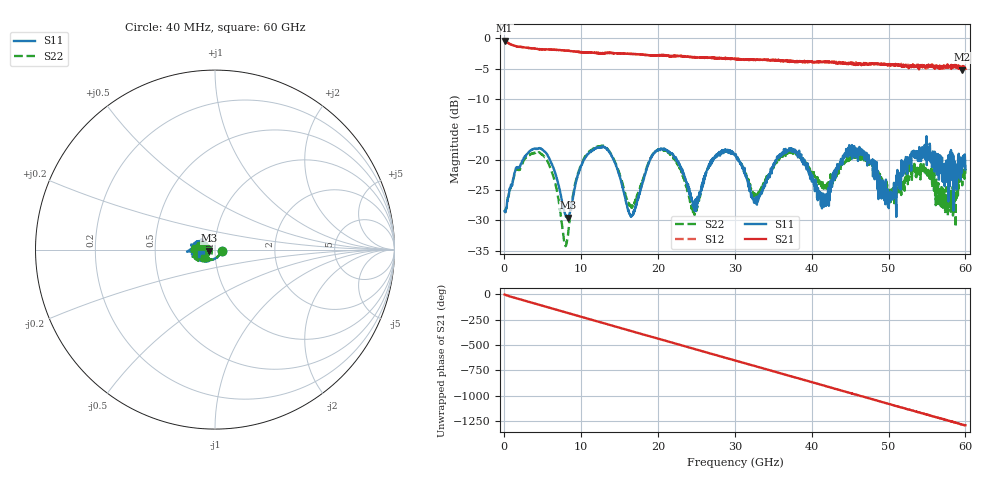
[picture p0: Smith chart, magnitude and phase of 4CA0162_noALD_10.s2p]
! File created by 'SoftPlot +Plus+ Measurement Management Software'
! SoftPlot +Plus+ Measurement Management Software
! Start 40.000000 MHz  Stop 60.000000 GHz  Points 1601
# MHZ S RI R 50
! S-Parameter data, F S11 S21 S12 S22
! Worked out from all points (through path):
!   1601 points, 40 MHz to 60 GHz, reference 50 ohm
!   highest |S21| = -0.36 dB at 40 MHz (marker M1); lowest = -5.1 dB at 59.51 GHz (marker M2)
!   group delay of S21, straight-line fit = 59.7 ps
!   lowest |S11| = -29.5 dB at 8.284 GHz (marker M3), VSWR 1.07, Z = 46.8 - j0.568 ohm
!   |S11| at or under -10 dB: start of sweep to end of sweep
!   |S22| runs from -34.3 to -17.7 dB; largest |S21 - S12| = 0.051
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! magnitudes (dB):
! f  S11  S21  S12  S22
! 40 MHz  -28.5  -0.4  -0.4  -28.4
! 1.576 GHz  -21.3  -1.3  -1.3  -21.7
! 4.612 GHz  -18.1  -1.8  -1.8  -18.8
! 8.284 GHz  -29.5  -2.0  -2.0  -32.5
! 10.05 GHz  -20.9  -2.3  -2.3  -20.7
! 13.34 GHz  -18.3  -2.4  -2.4  -18.1
! 16.53 GHz  -29.4  -2.6  -2.6  -27.9
! 20.05 GHz  -18.4  -2.8  -2.8  -18.4
! 22.45 GHz  -20.2  -2.9  -2.9  -20.3
! 24.74 GHz  -27.4  -3.1  -3.1  -29.1
! 27.13 GHz  -19.7  -3.2  -3.2  -19.9
! 30.02 GHz  -19.2  -3.4  -3.3  -19.2
! 32.64 GHz  -27.1  -3.6  -3.6  -26.1
! 37.07 GHz  -18.1  -3.7  -3.7  -18.8
! 40.03 GHz  -23.6  -3.8  -3.9  -22.1
! 41.64 GHz  -26.3  -3.8  -3.9  -24.2
! 46.51 GHz  -18.7  -4.4  -4.2  -19.5
! 50.03 GHz  -28.0  -4.4  -4.4  -25.1
! 53.29 GHz  -18.5  -4.8  -4.7  -21.9
! 58.43 GHz  -19.3  -4.5  -4.6  -27.3
! 59.51 GHz  -19.7  -5.1  -5.2  -23.1
! 60 GHz  -21.6  -5.0  -5.2  -22.3
